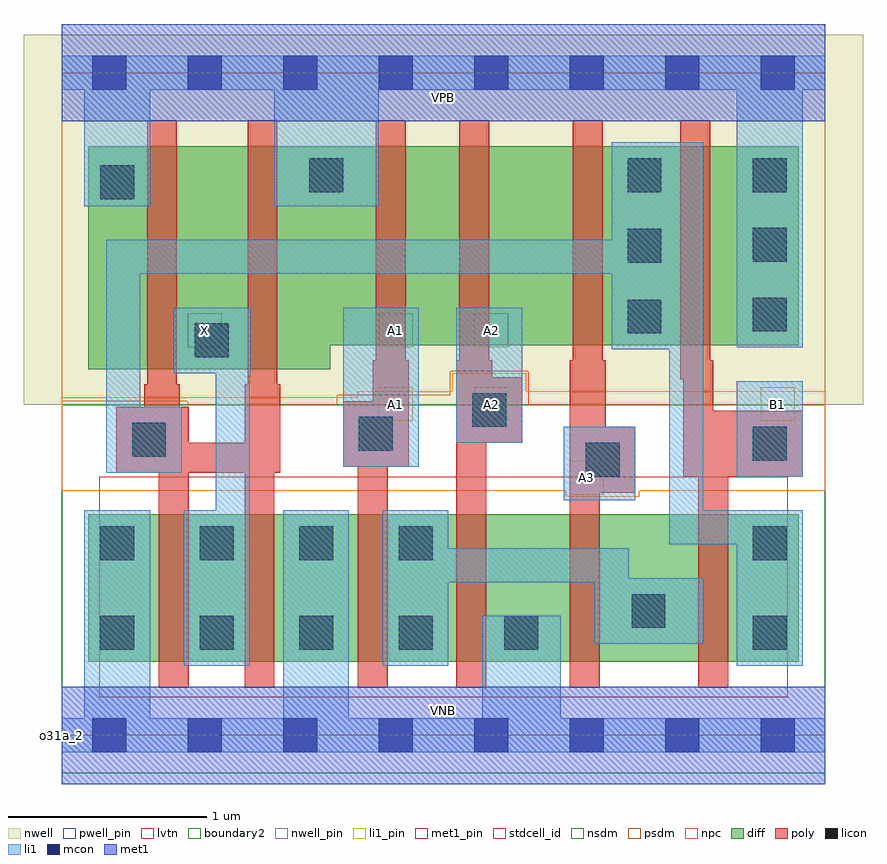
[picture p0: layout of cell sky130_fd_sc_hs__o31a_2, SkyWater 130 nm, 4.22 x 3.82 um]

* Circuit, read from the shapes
.subckt sky130_fd_sc_hs__o31a_2 A1 A2 A3 B1 VGND VNB VPB VPWR X
XM1 X n1 VGND VNB sky130_fd_pr__nfet_01v8_lvt w=0.74 l=0.15 m=2
XM2 n2 A1 VGND VNB sky130_fd_pr__nfet_01v8_lvt w=0.74 l=0.15
XM3 VGND A2 n2 VNB sky130_fd_pr__nfet_01v8_lvt w=0.74 l=0.15
XM4 n2 A3 VGND VNB sky130_fd_pr__nfet_01v8_lvt w=0.74 l=0.15
XM5 n1 B1 n2 VNB sky130_fd_pr__nfet_01v8_lvt w=0.74 l=0.15
XM6 X n1 VPWR VPB sky130_fd_pr__pfet_01v8 w=1.12 l=0.15 m=2
XM7 n3 A1 VPWR VPB sky130_fd_pr__pfet_01v8 w=1 l=0.15
XM8 n4 A2 n3 VPB sky130_fd_pr__pfet_01v8 w=1 l=0.15
XM9 n1 A3 n4 VPB sky130_fd_pr__pfet_01v8 w=1 l=0.15
XM10 VPWR B1 n1 VPB sky130_fd_pr__pfet_01v8 w=1 l=0.15
.ends

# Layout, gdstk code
import gdstk
lib = gdstk.Library(unit=1e-6, precision=1e-09)
def R(c, l, rs):  # rectangles x0, y0, x1, y1
    for r in rs: c.add(gdstk.rectangle(r[:2], r[2:], *l))
def A(c, l, x, y, w, h, nx, ny, dx, dy):  # array of equal rectangles
    R(c, l, [(x+i*dx, y+j*dy, x+i*dx+w, y+j*dy+h) for i in range(nx) for j in range(ny)])
def P(c, l, *ps):  # polygons
    for p in ps: c.add(gdstk.Polygon(p, *l))
nwell_pin = (64, 16)
nwell = (64, 20)
diff = (65, 20)
poly = (66, 20)
licon = (66, 44)
li1_pin = (67, 16)
li1 = (67, 20)
mcon = (67, 44)
met1_pin = (68, 16)
met1 = (68, 20)
stdcell_id = (81, 4)
nsdm = (93, 44)
psdm = (94, 20)
npc = (95, 20)
pwell_pin = (122, 16)
lvtn = (125, 44)
boundary2 = (236, 0)

sky130_fd_sc_hs__o31a_2 = lib.new_cell('sky130_fd_sc_hs__o31a_2')
R(sky130_fd_sc_hs__o31a_2, nwell_pin, [(0,3.085,3.84,3.33)])
R(sky130_fd_sc_hs__o31a_2, nwell, [(-0.19,1.66,4.03,3.52)])
R(sky130_fd_sc_hs__o31a_2, diff, [(0.135,0.37,3.705,1.11)])
P(sky130_fd_sc_hs__o31a_2, diff, [(3.705,2.96),(0.135,2.96),(0.135,1.84),(1.35,1.84),(1.35,1.96),(3.705,1.96)])
P(sky130_fd_sc_hs__o31a_2, poly, [(1.1,1.765),(1.085,1.765),(1.085,3.09),(0.935,3.09),(0.935,1.765),(0.92,1.765),(0.92,1.47),(0.64,1.47),(0.64,1.65),(0.595,1.65),(0.595,1.765),(0.58,1.765),(0.58,3.09),(0.43,3.09),(0.43,1.765),(0.415,1.765),(0.415,1.65),(0.275,1.65),(0.275,1.32),(0.49,1.32),(0.49,0.24),(0.64,0.24),(0.64,1.32),(0.92,1.32),(0.92,0.24),(1.07,0.24),(1.07,1.32),(1.1,1.32)],
  [(1.745,1.885),(1.73,1.885),(1.73,3.09),(1.58,3.09),(1.58,1.885),(1.565,1.885),(1.565,1.68),(1.415,1.68),(1.415,1.35),(1.49,1.35),(1.49,0.24),(1.64,0.24),(1.64,1.35),(1.745,1.35)],
  [(2.315,1.8),(2.165,1.8),(2.165,1.885),(2.15,1.885),(2.15,3.09),(2,3.09),(2,1.885),(1.985,1.885),(1.985,0.24),(2.135,0.24),(2.135,1.47),(2.315,1.47)],
  [(2.885,1.55),(2.735,1.55),(2.735,1.885),(2.72,1.885),(2.72,3.09),(2.57,3.09),(2.57,1.885),(2.555,1.885),(2.555,0.24),(2.705,0.24),(2.705,1.22),(2.885,1.22)],
  [(3.725,1.63),(3.275,1.63),(3.275,1.885),(3.26,1.885),(3.26,3.09),(3.11,3.09),(3.11,1.79),(3.125,1.79),(3.125,1.3),(3.2,1.3),(3.2,0.24),(3.35,0.24),(3.35,1.3),(3.725,1.3)])
A(sky130_fd_sc_hs__o31a_2, licon, 0.195, 0.43, 0.17, 0.17, 4, 2, 0.5, 0.45)
A(sky130_fd_sc_hs__o31a_2, licon, 2.845, 2.02, 0.17, 0.17, 1, 3, 0, 0.355)
A(sky130_fd_sc_hs__o31a_2, licon, 3.475, 2.03, 0.17, 0.17, 1, 3, 0, 0.35)
R(sky130_fd_sc_hs__o31a_2, licon, [(2.225,0.43,2.395,0.6), (3.475,0.43,3.645,0.6), (2.865,0.54,3.035,0.71), (3.475,0.88,3.645,1.05), (2.635,1.3,2.805,1.47), (3.475,1.38,3.645,1.55), (0.355,1.4,0.525,1.57), (1.495,1.43,1.665,1.6), (2.065,1.55,2.235,1.72), (0.67,1.9,0.84,2.07), (0.195,2.695,0.365,2.865), (1.245,2.73,1.415,2.9)])
R(sky130_fd_sc_hs__o31a_2, li1_pin, [(2.555,1.21,2.725,1.38), (1.595,1.58,1.765,1.75), (2.075,1.58,2.245,1.75), (3.515,1.58,3.685,1.75), (0.635,1.95,0.805,2.12), (1.595,1.95,1.765,2.12), (2.075,1.95,2.245,2.12)])
R(sky130_fd_sc_hs__o31a_2, li1, [(2.525,1.18,2.885,1.55), (3.395,1.3,3.725,1.78), (1.415,1.35,1.795,2.15), (1.985,1.47,2.315,2.15)])
P(sky130_fd_sc_hs__o31a_2, li1, [(3.395,1.95),(3.395,3.245),(1.595,3.245),(1.595,2.66),(1.07,2.66),(1.07,3.245),(0.445,3.245),(0.445,2.66),(0.115,2.66),(0.115,3.245),(0,3.245),(0,3.415),(3.84,3.415),(3.84,3.245),(3.725,3.245),(3.725,1.95)],
  [(2.115,0.085),(2.115,0.6),(2.51,0.6),(2.51,0.085),(3.84,0.085),(3.84,-0.085),(0,-0.085),(0,0.085),(0.115,0.085),(0.115,1.13),(0.445,1.13),(0.445,0.085),(1.115,0.085),(1.115,1.13),(1.445,1.13),(1.445,0.085)],
  [(3.055,1.94),(2.765,1.94),(2.765,2.32),(0.395,2.32),(0.395,1.65),(0.605,1.65),(0.605,1.32),(0.225,1.32),(0.225,2.49),(2.765,2.49),(2.765,2.98),(3.225,2.98),(3.225,1.13),(3.725,1.13),(3.725,0.35),(3.395,0.35),(3.395,0.96),(3.055,0.96)],
  [(2.68,0.46),(2.68,0.77),(1.945,0.77),(1.945,0.35),(1.615,0.35),(1.615,1.13),(1.945,1.13),(1.945,0.94),(2.85,0.94),(2.85,0.79),(3.225,0.79),(3.225,0.46)],
  [(0.565,1.82),(0.565,2.15),(0.95,2.15),(0.95,1.82),(0.945,1.82),(0.945,0.35),(0.615,0.35),(0.615,1.13),(0.775,1.13),(0.775,1.82)])
A(sky130_fd_sc_hs__o31a_2, mcon, 0.155, -0.085, 0.17, 0.17, 8, 2, 0.48, 3.33)
R(sky130_fd_sc_hs__o31a_2, met1_pin, [(0,0,3.84,0.245), (0,3.085,3.84,3.33)])
R(sky130_fd_sc_hs__o31a_2, met1, [(0,-0.245,3.84,0.245), (0,3.085,3.84,3.575)])
R(sky130_fd_sc_hs__o31a_2, stdcell_id, [(0,0,3.84,3.33)])
R(sky130_fd_sc_hs__o31a_2, nsdm, [(0,-0.19,3.84,1.66)])
P(sky130_fd_sc_hs__o31a_2, psdm, [(3.84,3.52),(0,3.52),(0,1.68),(0.635,1.68),(0.635,1.66),(1.385,1.66),(1.385,1.71),(1.955,1.71),(1.955,1.83),(2.345,1.83),(2.345,1.66),(3.84,1.66)])
P(sky130_fd_sc_hs__o31a_2, npc, [(3.84,1.73),(2.335,1.73),(2.335,1.82),(1.965,1.82),(1.965,1.73),(1.49,1.73),(1.49,1.7),(0,1.7),(0,1.23),(2.535,1.23),(2.535,1.2),(2.905,1.2),(2.905,1.23),(3.84,1.23)])
R(sky130_fd_sc_hs__o31a_2, pwell_pin, [(0,0,3.84,0.245)])
R(sky130_fd_sc_hs__o31a_2, lvtn, [(0.19,0.19,3.65,1.3)])
R(sky130_fd_sc_hs__o31a_2, boundary2, [(0,0,3.84,3.33)])
sky130_fd_sc_hs__o31a_2.add(gdstk.Label('o31a_2', (0,0), layer=83, texttype=44))
sky130_fd_sc_hs__o31a_2.add(gdstk.Label('VNB', (1.92,0.123), layer=64, texttype=59))
sky130_fd_sc_hs__o31a_2.add(gdstk.Label('VPB', (1.92,3.208), layer=64, texttype=5))
sky130_fd_sc_hs__o31a_2.add(gdstk.Label('VPWR', (1.92,3.208), layer=68, texttype=5))
sky130_fd_sc_hs__o31a_2.add(gdstk.Label('VGND', (1.92,0.123), layer=68, texttype=5))
sky130_fd_sc_hs__o31a_2.add(gdstk.Label('B1', (3.6,1.665), layer=67, texttype=5))
sky130_fd_sc_hs__o31a_2.add(gdstk.Label('A3', (2.64,1.295), layer=67, texttype=5))
sky130_fd_sc_hs__o31a_2.add(gdstk.Label('A2', (2.16,1.665), layer=67, texttype=5))
sky130_fd_sc_hs__o31a_2.add(gdstk.Label('A2', (2.16,2.035), layer=67, texttype=5))
sky130_fd_sc_hs__o31a_2.add(gdstk.Label('A1', (1.68,1.665), layer=67, texttype=5))
sky130_fd_sc_hs__o31a_2.add(gdstk.Label('A1', (1.68,2.035), layer=67, texttype=5))
sky130_fd_sc_hs__o31a_2.add(gdstk.Label('X', (0.72,2.035), layer=67, texttype=5))

lib.write_gds('sky130_fd_sc_hs__o31a_2.gds')
